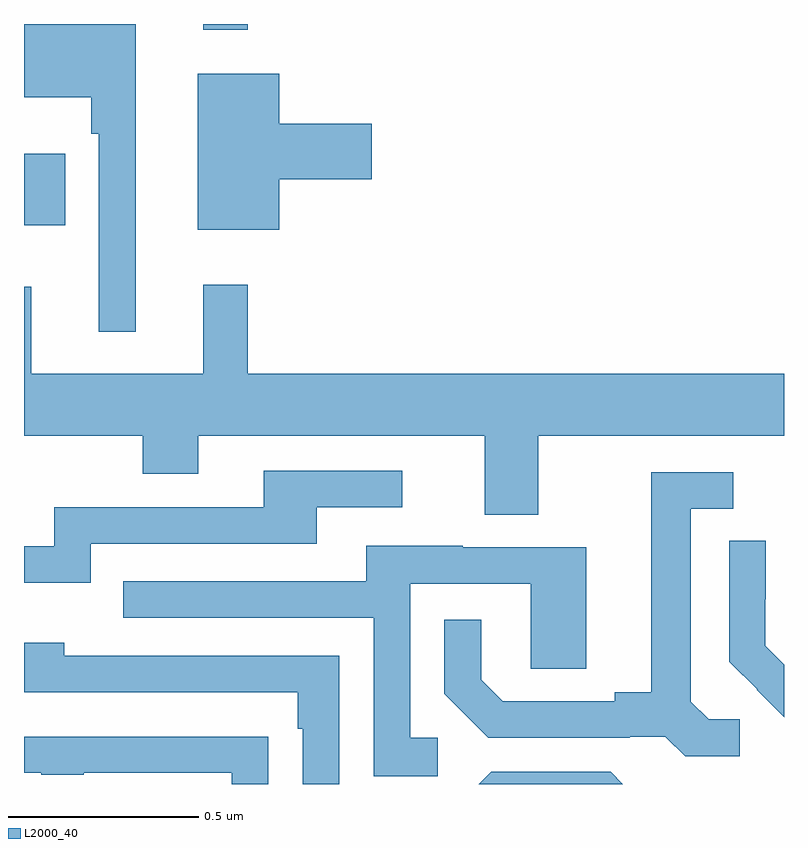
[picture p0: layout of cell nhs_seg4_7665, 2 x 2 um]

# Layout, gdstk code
import gdstk
lib = gdstk.Library(unit=1e-6, precision=1e-09)
def R(c, l, rs):  # rectangles x0, y0, x1, y1
    for r in rs: c.add(gdstk.rectangle(r[:2], r[2:], *l))
def P(c, l, *ps):  # polygons
    for p in ps: c.add(gdstk.Polygon(p, *l))
L2000_40 = (2000, 40)

nhs_seg4_7665 = lib.new_cell('nhs_seg4_7665')
R(nhs_seg4_7665, L2000_40, [(205,801.371,205.108,801.559), (205.472,801.885,205.589,801.9)])
P(nhs_seg4_7665, L2000_40, [(205.294,801.9),(205,801.9),(205,801.707),(205.177,801.707),(205.177,801.611),(205.197,801.611),(205.197,801.09),(205.294,801.09)],
  [(205.672,801.491),(205.915,801.491),(205.915,801.638),(205.672,801.638),(205.672,801.769),(205.457,801.769),(205.457,801.359),(205.672,801.359)],
  [(206.353,800.816),(207,800.816),(207,800.98),(205.589,800.98),(205.589,801.214),(205.472,801.214),(205.472,800.98),(205.019,800.98),(205.019,801.208),(205,801.208),(205,800.816),(205.312,800.816),(205.312,800.717),(205.459,800.717),(205.459,800.816),(206.213,800.816),(206.213,800.608),(206.353,800.608)],
  [(205.176,800.532),(205.771,800.532),(205.771,800.628),(205.996,800.628),(205.996,800.724),(205.631,800.724),(205.631,800.628),(205.08,800.628),(205.08,800.526),(205,800.526),(205,800.429),(205.176,800.429)],
  [(206.884,800.07),(206.802,800.07),(206.755,800.117),(206.755,800.625),(206.866,800.625),(206.866,800.721),(206.651,800.721),(206.651,800.141),(206.555,800.141),(206.555,800.118),(206.26,800.118),(206.203,800.175),(206.203,800.332),(206.106,800.332),(206.106,800.138),(206.222,800.022),(206.594,800.022),(206.594,800.025),(206.688,800.025),(206.74,799.973),(206.884,799.973)],
  [(207,800.214),(206.951,800.264),(206.951,800.386),(206.952,800.386),(206.952,800.54),(206.856,800.54),(206.856,800.222),(206.929,800.149),(206.928,800.148),(207,800.076)],
  [(206.089,800.022),(206.016,800.022),(206.016,800.427),(206.334,800.427),(206.334,800.203),(206.479,800.203),(206.479,800.523),(206.155,800.523),(206.155,800.527),(205.901,800.527),(205.901,800.433),(205.261,800.433),(205.261,800.337),(205.92,800.337),(205.92,799.921),(206.089,799.921)],
  [(205.83,800.238),(205.106,800.238),(205.106,800.272),(205,800.272),(205,800.142),(205.721,800.142),(205.721,800.045),(205.734,800.045),(205.734,799.9),(205.83,799.9)],
  [(205.643,800.024),(205.541,800.024),(205.541,800.025),(205,800.025),(205,799.929),(205.045,799.929),(205.045,799.924),(205.157,799.924),(205.157,799.929),(205.547,799.929),(205.547,799.9),(205.643,799.9)],
  [(206.544,799.932),(206.229,799.932),(206.197,799.9),(206.576,799.9)])

lib.write_gds('nhs_seg4_7665.gds')
